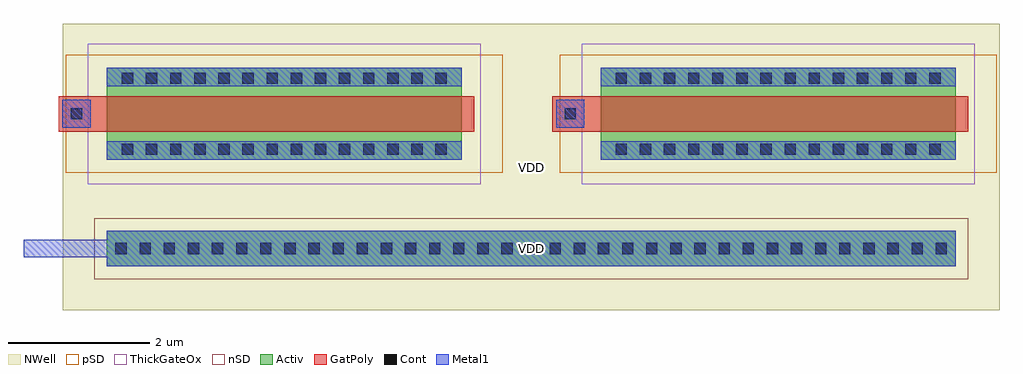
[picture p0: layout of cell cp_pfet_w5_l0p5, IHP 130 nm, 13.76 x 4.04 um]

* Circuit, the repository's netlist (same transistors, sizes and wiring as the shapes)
* extracted by klt extract --deck sg13cmos5l

* cell cp_pfet_w5_l0p5
* pin VDD
.SUBCKT cp_pfet_w5_l0p5 VDD
* device instance $1 r0 *1 3.8,3.11 pfet
X$1 \$6 \$2 \$3 VDD sg13_hv_pmos L=0.5U W=5U AS=2P AD=2P PS=10.8U PD=10.8U
* device instance $2 r0 *1 10.76,3.11 pfet
X$2 \$7 \$4 \$5 VDD sg13_hv_pmos L=0.5U W=5U AS=2P AD=2P PS=10.8U PD=10.8U
.ENDS cp_pfet_w5_l0p5

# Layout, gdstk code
import gdstk
lib = gdstk.Library(unit=1e-6, precision=1e-09)
def R(c, l, rs):  # rectangles x0, y0, x1, y1
    for r in rs: c.add(gdstk.rectangle(r[:2], r[2:], *l))
def A(c, l, x, y, w, h, nx, ny, dx, dy):  # array of equal rectangles
    R(c, l, [(x+i*dx, y+j*dy, x+i*dx+w, y+j*dy+h) for i in range(nx) for j in range(ny)])
Activ = (1, 0)
GatPoly = (5, 0)
Cont = (6, 0)
nSD = (7, 0)
Metal1 = (8, 0)
pSD = (14, 0)
NWell = (31, 0)
ThickGateOx = (44, 0)

cp_pfet_w5_l0p5 = lib.new_cell('cp_pfet_w5_l0p5')
R(cp_pfet_w5_l0p5, Activ, [(1.3,0.96,13.26,1.46), (1.3,2.46,6.3,3.76), (8.26,2.46,13.26,3.76)])
R(cp_pfet_w5_l0p5, GatPoly, [(0.62,2.86,1.12,3.36), (1.12,2.86,6.48,3.36), (7.58,2.86,8.08,3.36), (8.08,2.86,13.44,3.36)])
A(cp_pfet_w5_l0p5, Cont, 1.42, 1.13, 0.16, 0.16, 35, 1, 0.34, 0)
A(cp_pfet_w5_l0p5, Cont, 1.51, 2.53, 0.16, 0.16, 14, 2, 0.34, 1)
A(cp_pfet_w5_l0p5, Cont, 8.47, 2.53, 0.16, 0.16, 14, 2, 0.34, 1)
R(cp_pfet_w5_l0p5, Cont, [(0.79,3.03,0.95,3.19), (7.75,3.03,7.91,3.19)])
R(cp_pfet_w5_l0p5, nSD, [(1.12,0.78,13.44,1.64)])
R(cp_pfet_w5_l0p5, Metal1, [(1.3,0.96,13.26,1.46), (0.125,1.085,1.3,1.335), (1.3,2.46,6.3,2.72), (8.26,2.46,13.26,2.72), (0.67,2.91,1.07,3.31), (7.63,2.91,8.03,3.31), (1.3,3.5,6.3,3.76), (8.26,3.5,13.26,3.76)])
R(cp_pfet_w5_l0p5, pSD, [(0.72,2.28,6.88,3.94), (7.68,2.28,13.84,3.94)])
R(cp_pfet_w5_l0p5, NWell, [(0.68,0.34,13.88,4.38)])
R(cp_pfet_w5_l0p5, ThickGateOx, [(1.03,2.12,6.57,4.1), (7.99,2.12,13.53,4.1)])
cp_pfet_w5_l0p5.add(gdstk.Label('VDD', (7.28,1.21), layer=8, texttype=2))
cp_pfet_w5_l0p5.add(gdstk.Label('VDD', (7.28,2.36), layer=31, texttype=2))

lib.write_gds('cp_pfet_w5_l0p5.gds')
